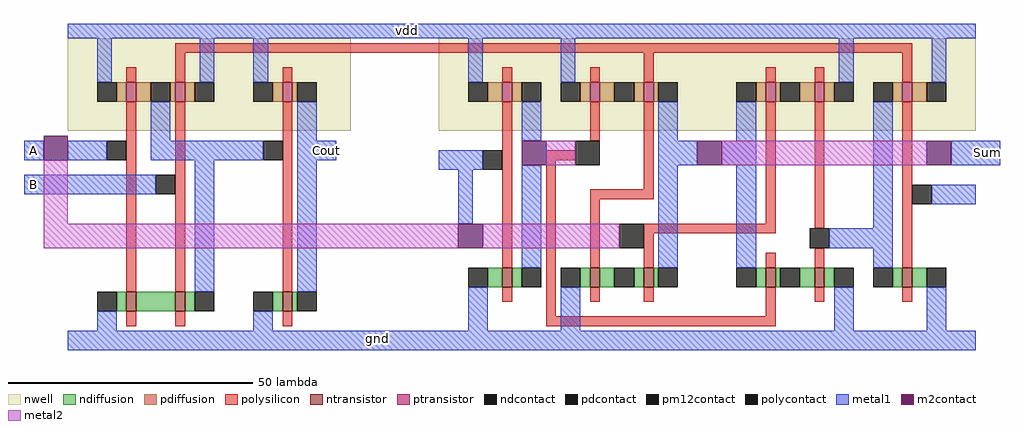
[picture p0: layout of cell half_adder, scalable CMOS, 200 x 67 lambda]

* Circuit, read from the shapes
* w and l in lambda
.subckt half_adder A B Cout Sum gnd vdd
M1 n1 A gnd VSUBS nfet w=4 l=2
M2 NAND_0/out B n1 VSUBS nfet w=4 l=2
M3 Cout NAND_0/out gnd VSUBS nfet w=4 l=2
M4 n2 A gnd VSUBS nfet w=4 l=2
M5 n3 B gnd VSUBS nfet w=4 l=2
M6 Sum A n3 VSUBS nfet w=4 l=2
M7 n4 n2 Sum VSUBS nfet w=4 l=2
M8 gnd n5 n4 VSUBS nfet w=4 l=2
M9 gnd B n5 VSUBS nfet w=4 l=2
M10 NAND_0/out A vdd n6 pfet w=4 l=2
M11 vdd B NAND_0/out n6 pfet w=4 l=2
M12 Cout NAND_0/out vdd n6 pfet w=4 l=2
M13 n2 A vdd n7 pfet w=4 l=2
M14 n8 n2 vdd n7 pfet w=4 l=2
M15 Sum B n8 n7 pfet w=4 l=2
M16 n9 A Sum n7 pfet w=4 l=2
M17 vdd n5 n9 n7 pfet w=4 l=2
M18 vdd B n5 n7 pfet w=4 l=2
.ends

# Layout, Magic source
magic
tech scmos
<< nwell >>
rect 36 45 58 64
<< ntransistor >>
rect 44 8 46 12
<< ptransistor >>
rect 44 51 46 55
<< ndiffusion >>
rect 42 8 44 12
rect 46 8 47 12
<< pdiffusion >>
rect 42 51 44 55
rect 46 51 47 55
<< ndcontact >>
rect 38 8 42 12
rect 47 8 51 12
<< pdcontact >>
rect 38 51 42 55
rect 47 51 51 55
<< polysilicon >>
rect 22 61 119 63
rect 22 58 24 61
rect 44 55 46 58
rect 44 12 46 51
rect 44 5 46 8
<< polycontact >>
rect 40 39 44 43
<< metal1 >>
rect 36 64 76 67
rect 38 55 41 64
rect -9 39 -5 43
rect 47 43 51 51
rect 36 39 40 43
rect 47 39 55 43
rect -9 32 4 36
rect 47 12 51 39
rect 186 38 191 43
rect 38 4 42 8
rect 36 0 76 4
<< m2contact >>
rect -5 39 0 44
<< metal2 >>
rect -5 26 0 39
rect -5 21 80 26
use XOR  XOR_0
transform 1 0 -32 0 1 -23
box 108 23 218 90
use NAND  NAND_0
transform 1 0 21 0 1 42
box -21 -42 15 25
<< labels >>
rlabel metal1 68 65 71 66 5 vdd
rlabel metal1 -8 40 -6 42 3 A
rlabel metal1 -8 33 -6 35 3 B
rlabel metal1 52 40 54 42 1 Cout
rlabel metal1 188 40 189 41 7 Sum
rlabel metal1 62 2 65 3 1 gnd
<< end >>

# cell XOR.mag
magic
tech scmos
<< nwell >>
rect 108 68 218 87
<< ntransistor >>
rect 121 36 123 40
rect 139 36 141 40
rect 150 36 152 40
rect 175 36 177 40
rect 185 36 187 40
rect 203 36 205 40
<< ptransistor >>
rect 121 74 123 78
rect 139 74 141 78
rect 150 74 152 78
rect 175 74 177 78
rect 185 74 187 78
rect 203 74 205 78
<< ndiffusion >>
rect 118 36 121 40
rect 123 36 125 40
rect 137 36 139 40
rect 141 36 144 40
rect 148 36 150 40
rect 152 36 153 40
rect 173 36 175 40
rect 177 36 178 40
rect 182 36 185 40
rect 187 36 189 40
rect 201 36 203 40
rect 205 36 208 40
<< pdiffusion >>
rect 118 74 121 78
rect 123 74 125 78
rect 137 74 139 78
rect 141 74 144 78
rect 148 74 150 78
rect 152 74 153 78
rect 173 74 175 78
rect 177 74 178 78
rect 182 74 185 78
rect 187 74 189 78
rect 201 74 203 78
rect 205 74 208 78
<< ndcontact >>
rect 114 36 118 40
rect 125 36 129 40
rect 133 36 137 40
rect 144 36 148 40
rect 153 36 157 40
rect 169 36 173 40
rect 178 36 182 40
rect 189 36 193 40
rect 197 36 201 40
rect 208 36 212 40
<< pdcontact >>
rect 114 74 118 78
rect 125 74 129 78
rect 133 74 137 78
rect 144 74 148 78
rect 153 74 157 78
rect 169 74 173 78
rect 178 74 182 78
rect 189 74 193 78
rect 197 74 201 78
rect 208 74 212 78
<< polysilicon >>
rect 150 84 205 86
rect 121 78 123 81
rect 139 78 141 81
rect 150 78 152 84
rect 175 78 177 81
rect 185 78 187 81
rect 203 78 205 84
rect 121 40 123 74
rect 139 66 141 74
rect 130 62 136 64
rect 121 33 123 36
rect 130 30 132 62
rect 150 56 152 74
rect 139 54 152 56
rect 139 40 141 54
rect 175 49 177 74
rect 150 47 177 49
rect 185 48 187 74
rect 150 40 152 47
rect 175 40 177 43
rect 185 40 187 44
rect 203 40 205 74
rect 139 33 141 36
rect 150 33 152 36
rect 175 30 177 36
rect 185 33 187 36
rect 203 33 205 36
rect 130 28 177 30
<< polycontact >>
rect 117 60 121 64
rect 184 44 188 48
rect 205 53 209 57
<< metal1 >>
rect 108 87 218 90
rect 114 78 117 87
rect 133 78 136 87
rect 190 78 193 87
rect 209 78 212 87
rect 125 66 129 74
rect 153 66 157 74
rect 169 66 173 74
rect 108 60 117 64
rect 153 61 161 66
rect 166 61 173 66
rect 112 49 115 60
rect 125 40 129 61
rect 153 40 157 61
rect 169 40 173 61
rect 197 48 201 74
rect 213 61 218 66
rect 209 53 218 57
rect 188 44 201 48
rect 197 40 201 44
rect 114 27 118 36
rect 133 27 137 36
rect 189 27 193 36
rect 208 27 212 36
rect 108 23 218 27
<< m2contact >>
rect 125 61 130 66
rect 161 61 166 66
rect 112 44 117 49
rect 208 61 213 66
<< pm12contact >>
rect 136 61 141 66
rect 145 44 150 49
<< metal2 >>
rect 130 61 136 66
rect 166 61 208 66
rect 117 44 145 49
<< labels >>
rlabel metal1 109 61 111 63 3 A
rlabel metal1 164 88 165 89 5 vdd
rlabel metal1 169 24 170 25 1 gnd
rlabel metal1 215 54 216 55 7 B
rlabel metal1 215 63 216 64 7 out
<< end >>

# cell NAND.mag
magic
tech scmos
<< nwell >>
rect -21 3 15 22
<< ntransistor >>
rect -9 -34 -7 -30
rect 1 -34 3 -30
<< ptransistor >>
rect -9 9 -7 13
rect 1 9 3 13
<< ndiffusion >>
rect -11 -34 -9 -30
rect -7 -34 1 -30
rect 3 -34 5 -30
<< pdiffusion >>
rect -11 9 -9 13
rect -7 9 -4 13
rect 0 9 1 13
rect 3 9 5 13
<< ndcontact >>
rect -15 -34 -11 -30
rect 5 -34 9 -30
<< pdcontact >>
rect -15 9 -11 13
rect -4 9 0 13
rect 5 9 9 13
<< polysilicon >>
rect -9 13 -7 16
rect 1 13 3 16
rect -9 -30 -7 9
rect 1 -30 3 9
rect -9 -37 -7 -34
rect 1 -37 3 -34
<< polycontact >>
rect -13 -3 -9 1
rect -3 -10 1 -6
<< metal1 >>
rect -21 22 15 25
rect -15 13 -12 22
rect 6 13 9 22
rect -4 1 0 9
rect -21 -3 -13 1
rect -4 -3 15 1
rect -21 -10 -3 -6
rect 5 -30 9 -3
rect -15 -38 -11 -34
rect -21 -42 15 -38
<< labels >>
rlabel metal1 -20 -41 -18 -39 2 gnd
rlabel metal1 -20 23 -18 25 4 vdd
rlabel metal1 -20 -2 -18 0 3 A
rlabel metal1 -20 -9 -18 -7 3 B
rlabel metal1 11 -2 13 0 7 out
<< end >>
